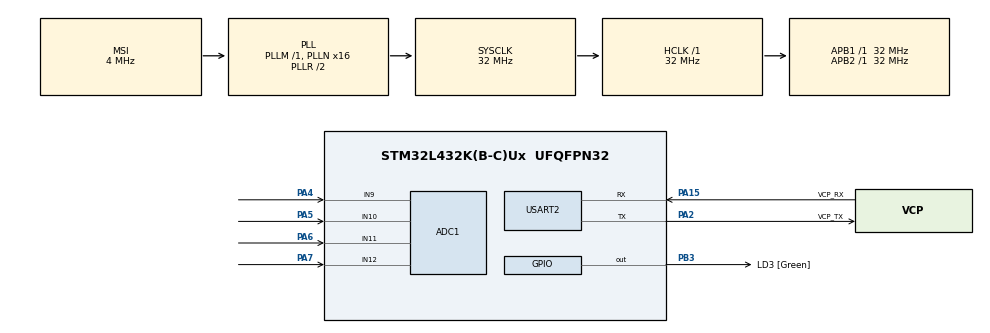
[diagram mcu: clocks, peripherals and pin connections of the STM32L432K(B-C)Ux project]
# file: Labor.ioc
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ADC1.Channel-0\#ChannelRegularConversion=ADC_CHANNEL_9
ADC1.NbrOfConversionFlag=1
ADC1.OffsetNumber-0\#ChannelRegularConversion=ADC_OFFSET_NONE
ADC1.Rank-0\#ChannelRegularConversion=1
ADC1.SamplingTime-0\#ChannelRegularConversion=ADC_SAMPLETIME_2CYCLES_5
ADC1.master=1
Mcu.Family=STM32L4
Mcu.Name=STM32L432K(B-C)Ux
Mcu.Package=UFQFPN32
NVIC.PriorityGroup=NVIC_PRIORITYGROUP_4
PA0.GPIO_Label=MCO [High speed clock in]
PA0.Mode=HSE-External-Clock-Source-for-LittleOrca
PA0.Signal=RCC_CK_IN
PA13\ (JTMS-SWDIO).GPIO_Label=SWDIO
PA13\ (JTMS-SWDIO).Mode=Serial_Wire
PA13\ (JTMS-SWDIO).Signal=SYS_JTMS-SWDIO
PA14\ (JTCK-SWCLK).GPIO_Label=SWCLK
PA14\ (JTCK-SWCLK).Mode=Serial_Wire
PA14\ (JTCK-SWCLK).Signal=SYS_JTCK-SWCLK
PA15\ (JTDI).GPIO_Label=VCP_RX
PA15\ (JTDI).Mode=Asynchronous
PA15\ (JTDI).Signal=USART2_RX
PA2.GPIO_Label=VCP_TX
PA2.Mode=Asynchronous
PA2.Signal=USART2_TX
PA4.Signal=ADCx_IN9
PA5.Signal=ADCx_IN10
PA6.Signal=ADCx_IN11
PA7.Signal=ADCx_IN12
PB3\ (JTDO-TRACESWO).GPIO_Label=LD3 [Green]
PB3\ (JTDO-TRACESWO).Signal=GPIO_Output
PC14-OSC32_IN\ (PC14).Mode=LSE-External-Oscillator
PC14-OSC32_IN\ (PC14).Signal=RCC_OSC32_IN
PC15-OSC32_OUT\ (PC15).Mode=LSE-External-Oscillator
PC15-OSC32_OUT\ (PC15).Signal=RCC_OSC32_OUT
ProjectManager.HeapSize=0x200
ProjectManager.StackSize=0x400
ProjectManager.TargetToolchain=STM32CubeIDE
RCC.ADCFreq_Value=32000000
RCC.AHBFreq_Value=32000000
RCC.APB1Freq_Value=32000000
RCC.APB1TimFreq_Value=32000000
RCC.APB2Freq_Value=32000000
RCC.APB2TimFreq_Value=32000000
RCC.CortexFreq_Value=32000000
RCC.HCLKFreq_Value=32000000
RCC.HSE_VALUE=8000000
RCC.HSI16_VALUE=16000000
RCC.HSI48_VALUE=48000000
RCC.HSI_VALUE=16000000
RCC.MSI_VALUE=4000000
RCC.PLLMUL=RCC_PLLMUL_4
RCC.PLLN=16
RCC.PLLSAI1N=16
RCC.SYSCLKFreq_VALUE=32000000
RCC.SYSCLKSource=RCC_SYSCLKSOURCE_PLLCLK
RCC.USBFreq_Value=32000000
RCC.VCOOutputFreq_Value=64000000
SH.ADCx_IN10.0=ADC1_IN10,IN10-Single-Ended
SH.ADCx_IN11.0=ADC1_IN11,IN11-Single-Ended
SH.ADCx_IN12.0=ADC1_IN12,IN12-Single-Ended
SH.ADCx_IN9.0=ADC1_IN9,IN9-Single-Ended
USART2.VirtualMode-Asynchronous=VM_ASYNC
board=NUCLEO-L432KC

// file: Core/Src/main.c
/* USER CODE BEGIN Header */
/**
  ******************************************************************************
  * @file           : main.c
  * @brief          : Main program body
  ******************************************************************************
  * @attention
  *
  * Copyright (c) 2025 STMicroelectronics.
  * All rights reserved.
  *
  * This software is licensed under terms that can be found in the LICENSE file
  * in the root directory of this software component.
  * If no LICENSE file comes with this software, it is provided AS-IS.
  *
  ******************************************************************************
  */
/* USER CODE END Header */
#include "main.h"
#include "adc.h"
#include "usart.h"
#include "gpio.h"

/* USER CODE BEGIN PV */
#include <string.h>
#include <stdio.h>
#include <stdint.h>

#define ADC_RESOLUTION      4095.0f
#define VREF                3.3f

#define SCALE_CH0_LOW    1.0f    // CH0 → 1V Bereich
#define SCALE_CH0_HIGH   10.0f   // CH0 → 10V Bereich

#define SCALE_CH1_LOW    10.0f   // CH1 → 10V Bereich
#define SCALE_CH1_HIGH   36.0f   // CH1 → 36V Bereich

// DMA/ADC Buffer
volatile uint16_t adcValues[4]; // [PA4, PA5, PA6, PA7]
volatile uint8_t adcReady = 0;  // gesetzt im Callback
/* USER CODE END PV */

void SystemClock_Config(void);

int main(void)
{

  /* MCU Configuration--------------------------------------------------------*/

  /* Reset of all peripherals, Initializes the Flash interface and the Systick. */
  HAL_Init();

  /* Configure the system clock */
  SystemClock_Config();

  /* Initialize all configured peripherals */
  MX_GPIO_Init();
  MX_USART2_UART_Init();
  MX_ADC1_Init();
  /* USER CODE BEGIN 2 */
  // Start ADC in DMA mode (4 channels)
  if (HAL_ADC_Start_DMA(&hadc1, (uint32_t*)adcValues, 4) != HAL_OK)
  {
      // Fehlerbehandlung
      Error_Handler();
  }
  /* USER CODE END 2 */

  /* Infinite loop */
  /* USER CODE BEGIN WHILE */

  while (1)
    {
        if (adcReady)
          {
              adcReady = 0;

              // Rohwerte in ADC-Spannung umrechnen (0..VREF)
              float va = (float)adcValues[0] * VREF / ADC_RESOLUTION; // PA4 (CH0 low)
              float vb = (float)adcValues[1] * VREF / ADC_RESOLUTION; // PA5 (CH0 high)
              float vc = (float)adcValues[2] * VREF / ADC_RESOLUTION; // PA6 (CH1 low)
              float vd = (float)adcValues[3] * VREF / ADC_RESOLUTION; // PA7 (CH1 high)

              // Threshold zur Bereichserkennung
              const float THRESH = 0.05f;
              char buffer[128];
              // CH0: wähle aktiven Bereich
              float CH0;
              if (va > THRESH)
              {
                  // PA4 aktiv → low range
                  CH0 = va * SCALE_CH0_LOW;
                  int len = snprintf(buffer, sizeof(buffer), "%.6f\n",CH0);
              }
              else
              {
                  // PA5 aktiv → high range
                  CH0 = vb * SCALE_CH0_HIGH;
                  int len = snprintf(buffer, sizeof(buffer), "%.6f\n",CH0);
              }

              // CH1: wähle aktiven Bereich
              float CH1;
              if (vc > THRESH)
              {
                  // PA6 aktiv → low range
                  CH1 = vc * SCALE_CH1_LOW;
                  int len = snprintf(buffer, sizeof(buffer), "%.6f\n",CH1);
              }
              else
              {
                  // PA7 aktiv → high range
                  CH1 = vd * SCALE_CH1_HIGH;
                  int len = snprintf(buffer, sizeof(buffer), "%.6f\n",CH1);
              }

              HAL_UART_Transmit(&huart2, (uint8_t*)buffer, len, 20);
              }
          }

    /* USER CODE END WHILE */

  }

void SystemClock_Config(void)
{
  RCC_OscInitTypeDef RCC_OscInitStruct = {0};
  RCC_ClkInitTypeDef RCC_ClkInitStruct = {0};

  /** Configure the main internal regulator output voltage
  */
  if (HAL_PWREx_ControlVoltageScaling(PWR_REGULATOR_VOLTAGE_SCALE1) != HAL_OK)
  {
    Error_Handler();
  }

  /** Configure LSE Drive Capability
  */
  HAL_PWR_EnableBkUpAccess();
  __HAL_RCC_LSEDRIVE_CONFIG(RCC_LSEDRIVE_LOW);

  /** Initializes the RCC Oscillators according to the specified parameters
  * in the RCC_OscInitTypeDef structure.
  */
  RCC_OscInitStruct.OscillatorType = RCC_OSCILLATORTYPE_LSE|RCC_OSCILLATORTYPE_MSI;
  RCC_OscInitStruct.LSEState = RCC_LSE_ON;
  RCC_OscInitStruct.MSIState = RCC_MSI_ON;
  RCC_OscInitStruct.MSICalibrationValue = 0;
  RCC_OscInitStruct.MSIClockRange = RCC_MSIRANGE_6;
  RCC_OscInitStruct.PLL.PLLState = RCC_PLL_ON;
  RCC_OscInitStruct.PLL.PLLSource = RCC_PLLSOURCE_MSI;
  RCC_OscInitStruct.PLL.PLLM = 1;
  RCC_OscInitStruct.PLL.PLLN = 16;
  RCC_OscInitStruct.PLL.PLLP = RCC_PLLP_DIV7;
  RCC_OscInitStruct.PLL.PLLQ = RCC_PLLQ_DIV2;
  RCC_OscInitStruct.PLL.PLLR = RCC_PLLR_DIV2;
  if (HAL_RCC_OscConfig(&RCC_OscInitStruct) != HAL_OK)
  {
    Error_Handler();
  }

  /** Initializes the CPU, AHB and APB buses clocks
  */
  RCC_ClkInitStruct.ClockType = RCC_CLOCKTYPE_HCLK|RCC_CLOCKTYPE_SYSCLK
                              |RCC_CLOCKTYPE_PCLK1|RCC_CLOCKTYPE_PCLK2;
  RCC_ClkInitStruct.SYSCLKSource = RCC_SYSCLKSOURCE_PLLCLK;
  RCC_ClkInitStruct.AHBCLKDivider = RCC_SYSCLK_DIV1;
  RCC_ClkInitStruct.APB1CLKDivider = RCC_HCLK_DIV1;
  RCC_ClkInitStruct.APB2CLKDivider = RCC_HCLK_DIV1;

  if (HAL_RCC_ClockConfig(&RCC_ClkInitStruct, FLASH_LATENCY_1) != HAL_OK)
  {
    Error_Handler();
  }

  /** Enable MSI Auto calibration
  */
  HAL_RCCEx_EnableMSIPLLMode();
}

/* USER CODE BEGIN 4 */
void HAL_ADC_ConvCpltCallback(ADC_HandleTypeDef* hadc)
{
    if(hadc->Instance == ADC1)
    {
        // Eine komplette Gruppe von 4 Messwerten ist verfügbar
        adcReady = 1;
    }
}
/* USER CODE END 4 */

void Error_Handler(void)
{
  __disable_irq();
  while (1)
  {
  }
}
